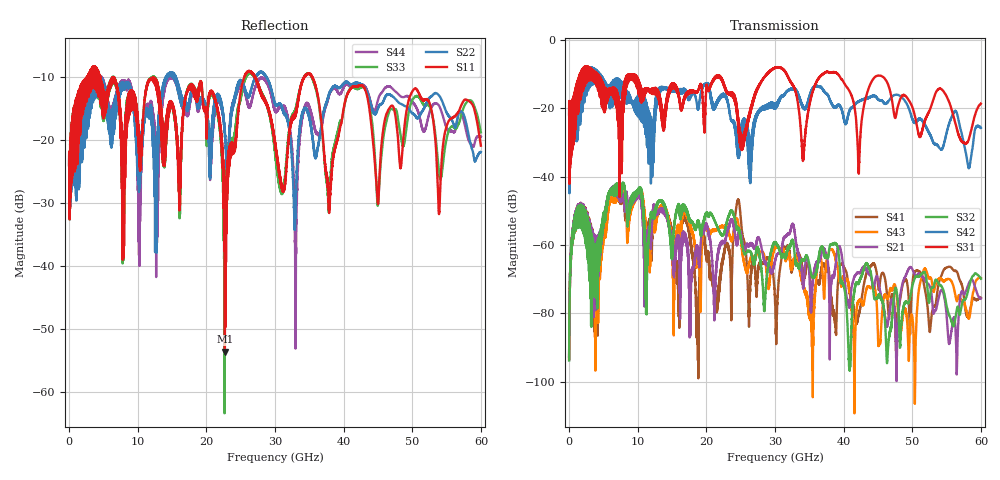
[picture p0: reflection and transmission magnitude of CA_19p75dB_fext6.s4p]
!4 port subset of full cascaded channels using these ports:13 37 14 38
# Hz S RI R 50
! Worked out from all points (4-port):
!   6000 points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, 10 MHz to 60 GHz, reference 50 ohm
!   strongest paths, dB at 10 MHz, 15.01 GHz, 30.01 GHz, 45.01 GHz, 60 GHz:
!     S31: -21.8, -13.0, -8.1, -10.4, -18.6
!     S42: -21.9, -14.4, -18.7, -17.3, -25.7
!     S32: -93.8, -63.4, -59.5, -75.1, -69.9
!     S21: -92.7, -60.5, -64.6, -70.0, -75.6
!     S43: -93.5, -62.4, -61.0, -86.6, -69.6
!     S41: -93.3, -56.6, -76.6, -71.7, -75.4
!   lowest |S11| = -53.6 dB at 22.7 GHz (marker M1), VSWR 1.00, Z = 50 + j0.208 ohm
!   |S11| at or under -10 dB: 6.391 GHz to 25.51 GHz (19.12 GHz wide, 120 % of centre); 27.12 GHz to 34.24 GHz (7.114 GHz wide, 23.2 % of centre); 35.44 GHz to end of sweep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
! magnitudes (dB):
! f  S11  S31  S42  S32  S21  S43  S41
! 10 MHz  -23.9  -21.8  -21.9  -93.8  -92.7  -93.5  -93.3
! 6.3 GHz  -10.3  -14.0  -12.5  -45.3  -45.2  -47.1  -46.6
! 18.66 GHz  -12.4  -15.1  -19.1  -53.6  -61.1  -65.1  -87.2
! 22.7 GHz  -53.6  -13.8  -16.6  -55.9  -59.2  -54.5  -61.4
! 24.66 GHz  -15.3  -25.2  -34.3  -55.3  -57.4  -53.6  -46.9
! 26.16 GHz  -9.1  -22.2  -36.3  -61.7  -60.4  -66.1  -81.0
! 60 GHz  -20.9  -18.6  -25.7  -69.9  -75.6  -69.6  -75.4
